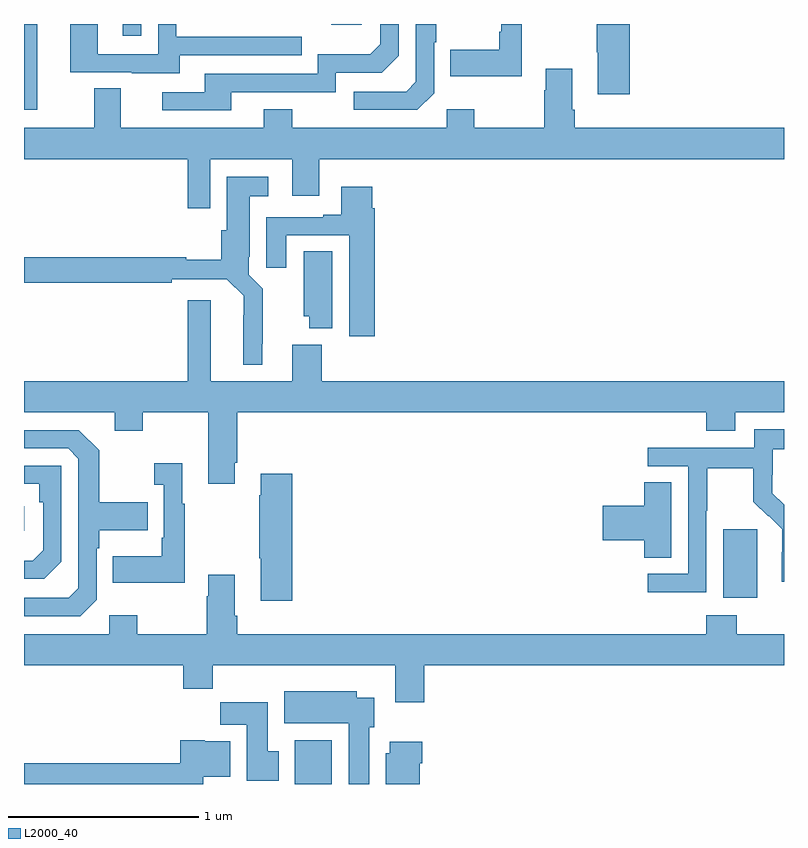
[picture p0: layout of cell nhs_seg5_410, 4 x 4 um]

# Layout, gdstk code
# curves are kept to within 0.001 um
import gdstk
lib = gdstk.Library(unit=1e-6, precision=1e-09)
def R(c, l, rs):  # rectangles x0, y0, x1, y1
    for r in rs: c.add(gdstk.rectangle(r[:2], r[2:], *l))
def P(c, l, *ps):  # polygons
    for p in ps: c.add(gdstk.Polygon(p, *l))
L2000_40 = (2000, 40)

nhs_seg5_410 = lib.new_cell('nhs_seg5_410')
R(nhs_seg5_410, L2000_40, [(138.425,858.799,138.621,859.03), (140.681,859.778,140.86,860.139), (137,860.132,137.002,860.262), (137,862.347,137.071,862.799), (137.519,862.737,137.616,862.799), (138.617,862.796,138.778,862.799)])
P(nhs_seg5_410, L2000_40, [(140.189,862.799),(140.014,862.799),(140.014,862.651),(140.021,862.651),(140.021,862.428),(140.189,862.428)],
  [(139.621,862.799),(139.512,862.799),(139.512,862.759),(139.5,862.759),(139.5,862.663),(139.243,862.663),(139.243,862.523),(139.621,862.523)],
  [(139.158,862.434),(139.158,862.703),(139.171,862.703),(139.171,862.799),(139.062,862.799),(139.062,862.494),(139.011,862.443),(138.735,862.443),(138.735,862.347),(139.071,862.347)],
  [(137.821,862.635),(138.461,862.635),(138.461,862.731),(137.802,862.731),(137.802,862.799),(137.706,862.799),(137.706,862.641),(137.388,862.641),(137.388,862.799),(137.243,862.799),(137.243,862.545),(137.567,862.545),(137.567,862.541),(137.821,862.541)],
  [(138.091,862.44),(138.642,862.44),(138.642,862.542),(138.882,862.542),(138.972,862.632),(138.972,862.799),(138.876,862.799),(138.876,862.692),(138.823,862.639),(138.546,862.639),(138.546,862.536),(137.951,862.536),(137.951,862.44),(137.727,862.44),(137.727,862.344),(138.091,862.344)],
  [(137.979,862.088),(138.413,862.088),(138.413,861.894),(138.553,861.894),(138.553,862.088),(141,862.088),(141,862.252),(139.898,862.252),(139.898,862.348),(139.885,862.348),(139.885,862.564),(139.745,862.564),(139.745,862.451),(139.738,862.451),(139.738,862.252),(139.371,862.252),(139.371,862.351),(139.224,862.351),(139.224,862.252),(138.411,862.252),(138.411,862.351),(138.263,862.351),(138.263,862.252),(137.509,862.252),(137.509,862.46),(137.369,862.46),(137.369,862.252),(137,862.252),(137,862.088),(137.863,862.088),(137.863,861.828),(137.979,861.828)],
  [(138.253,861.115),(138.257,861.115),(138.257,861.406),(138.183,861.48),(138.183,861.574),(138.187,861.574),(138.187,861.893),(138.286,861.893),(138.286,861.994),(138.068,861.994),(138.068,861.714),(138.038,861.714),(138.038,861.557),(137.854,861.557),(137.854,861.572),(137,861.572),(137,861.436),(137.777,861.436),(137.777,861.456),(138.068,861.456),(138.156,861.368),(138.155,861.005),(138.253,861.005)],
  [(138.845,861.83),(138.832,861.83),(138.832,861.943),(138.671,861.943),(138.671,861.796),(138.575,861.796),(138.575,861.783),(138.275,861.783),(138.275,861.516),(138.379,861.516),(138.379,861.687),(138.713,861.687),(138.713,861.156),(138.845,861.156)],
  [(138.622,861.602),(138.473,861.602),(138.473,861.261),(138.5,861.261),(138.5,861.197),(138.622,861.197)],
  [(138.109,860.491),(138.122,860.491),(138.122,860.756),(140.591,860.756),(140.591,860.657),(140.743,860.657),(140.743,860.756),(141,860.756),(141,860.92),(138.566,860.92),(138.566,861.112),(138.413,861.112),(138.413,860.92),(137.983,860.92),(137.983,861.346),(137.861,861.346),(137.861,860.92),(137,860.92),(137,860.756),(137.477,860.756),(137.477,860.657),(137.625,860.657),(137.625,860.756),(137.969,860.756),(137.969,860.379),(138.109,860.379)],
  [(140.592,860.236),(140.595,860.236),(140.595,860.46),(140.839,860.46),(140.839,860.285),(140.916,860.208),(140.919,860.211),(140.99,860.141),(140.99,860.018),(140.988,860.018),(140.988,859.864),(141,859.864),(141,860.268),(140.938,860.33),(140.938,860.427),(140.94,860.427),(140.94,860.561),(141,860.561),(141,860.665),(140.844,860.665),(140.844,860.568),(140.283,860.568),(140.283,860.472),(140.496,860.472),(140.496,859.905),(140.283,859.905),(140.283,859.807),(140.592,859.807)],
  [(137.382,859.77),(137.382,860.039),(137.395,860.039),(137.395,860.135),(137.651,860.135),(137.651,860.283),(137.395,860.283),(137.395,860.555),(137.289,860.661),(137,860.661),(137,860.565),(137.232,860.565),(137.286,860.511),(137.286,859.83),(137.235,859.779),(137,859.779),(137,859.683),(137.295,859.683)],
  [(137.845,860.275),(137.833,860.275),(137.833,860.488),(137.685,860.488),(137.685,860.375),(137.736,860.375),(137.736,860.095),(137.724,860.095),(137.724,859.999),(137.467,859.999),(137.467,859.859),(137.845,859.859)],
  [(137.196,859.968),(137.196,860.475),(137,860.475),(137,860.379),(137.08,860.379),(137.08,860.282),(137.1,860.282),(137.1,860.028),(137.047,859.975),(137,859.975),(137,859.878),(137.106,859.878)],
  [(138.413,860.431),(138.245,860.431),(138.245,860.318),(138.238,860.318),(138.238,859.987),(138.245,859.987),(138.245,859.764),(138.413,859.764)],
  [(140.407,860.387),(140.264,860.387),(140.264,860.264),(140.046,860.264),(140.046,860.081),(140.264,860.081),(140.264,859.99),(140.407,859.99)],
  [(139.106,859.424),(141,859.424),(141,859.588),(140.751,859.588),(140.751,859.687),(140.591,859.687),(140.591,859.588),(138.122,859.588),(138.122,859.684),(138.109,859.684),(138.109,859.9),(137.969,859.9),(137.969,859.787),(137.962,859.787),(137.962,859.588),(137.595,859.588),(137.595,859.687),(137.448,859.687),(137.448,859.588),(137,859.588),(137,859.424),(137.837,859.424),(137.837,859.3),(137.993,859.3),(137.993,859.424),(138.953,859.424),(138.953,859.23),(139.106,859.23)],
  [(138.817,859.098),(138.844,859.098),(138.844,859.252),(138.751,859.252),(138.751,859.288),(138.371,859.288),(138.371,859.118),(138.71,859.118),(138.71,858.799),(138.817,858.799)],
  [(138.34,858.972),(138.283,858.972),(138.283,859.23),(138.034,859.23),(138.034,859.112),(138.173,859.112),(138.173,858.816),(138.34,858.816)],
  [(137.944,858.836),(138.085,858.836),(138.085,859.024),(137.952,859.024),(137.952,859.03),(137.822,859.03),(137.822,858.908),(137,858.908),(137,858.799),(137.944,858.799)],
  [(139.084,858.908),(139.097,858.908),(139.097,859.021),(138.926,859.021),(138.926,858.96),(138.905,858.96),(138.905,858.799),(139.084,858.799)])

lib.write_gds('nhs_seg5_410.gds')
